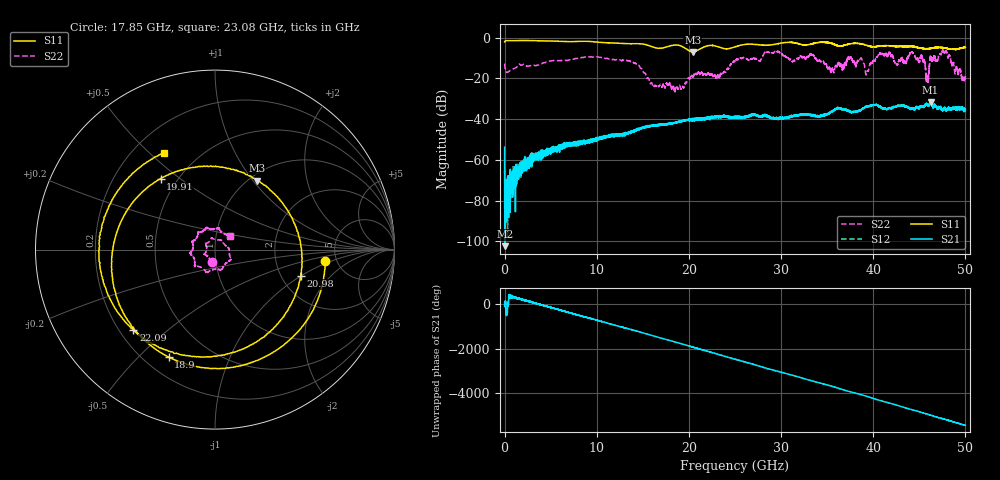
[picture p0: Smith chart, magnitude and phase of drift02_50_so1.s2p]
!Created with skrf (http://scikit-rf.org).
# Hz S RI R 50.0
!freq ReS11 ImS11 ReS21 ImS21 ReS12 ImS12 ReS22 ImS22
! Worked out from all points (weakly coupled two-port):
!   10001 points, 300 kHz to 50 GHz, reference 50 ohm
!   highest |S21| = -31.48 dB at 46.22 GHz (marker M1); lowest = -102.3 dB at 25.3 MHz (marker M2)
!   lowest |S11| = -6.9 dB at 20.41 GHz (marker M3), VSWR 2.64, Z = 54.2 + j52.3 ohm
!   |S11| at or under -10 dB: nowhere
!   |S22| runs from -26.9 to -5.9 dB; largest |S21 - S12| = 0.0031
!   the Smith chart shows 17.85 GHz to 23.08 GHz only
!   S11 on the Smith chart (normalised r, x): 17.85 GHz: 4.04, -0.86; 18.9 GHz: 0.30, -0.62; 19.91 GHz: 0.40, +0.43; 20.98 GHz: 2.56, -0.99; 22.09 GHz: 0.26, -0.39; 23.08 GHz: 0.32, +0.56
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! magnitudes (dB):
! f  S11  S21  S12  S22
! 300 kHz  -2.1  -53.8  -65.1  -12.7
! 25.3 MHz  -1.9  -102.3  -84.1  -13.9
! 255.3 MHz  -1.4  -82.8  -79.8  -17.0
! 3.205 GHz  -1.4  -58.8  -59.4  -13.5
! 8.335 GHz  -1.7  -51.0  -51.5  -9.7
! 13.71 GHz  -3.0  -46.3  -46.3  -11.7
! 16.67 GHz  -5.2  -42.9  -43.1  -23.6
! 17.85 GHz  -4.2  -42.2  -42.1  -22.9
! 18.9 GHz  -3.7  -41.4  -41.3  -23.9
! 19.91 GHz  -6.0  -40.4  -40.3  -19.8
! 20.41 GHz  -6.9  -40.2  -39.9  -19.0
! 20.98 GHz  -6.0  -39.8  -39.5  -16.7
! 22.09 GHz  -3.9  -39.1  -39.6  -17.6
! 23.08 GHz  -4.3  -38.5  -38.6  -19.0
! 25 GHz  -4.5  -39.5  -39.1  -11.6
! 33.34 GHz  -3.0  -38.3  -37.7  -8.5
! 39.33 GHz  -3.8  -33.7  -33.7  -16.6
! 41.67 GHz  -3.9  -34.7  -34.7  -7.7
! 45.86 GHz  -5.5  -32.9  -33.1  -18.7
! 46.22 GHz  -5.2  -31.5  -31.8  -9.5
! 47.75 GHz  -5.0  -34.3  -34.5  -7.2
! 50 GHz  -4.7  -35.1  -35.3  -18.7
